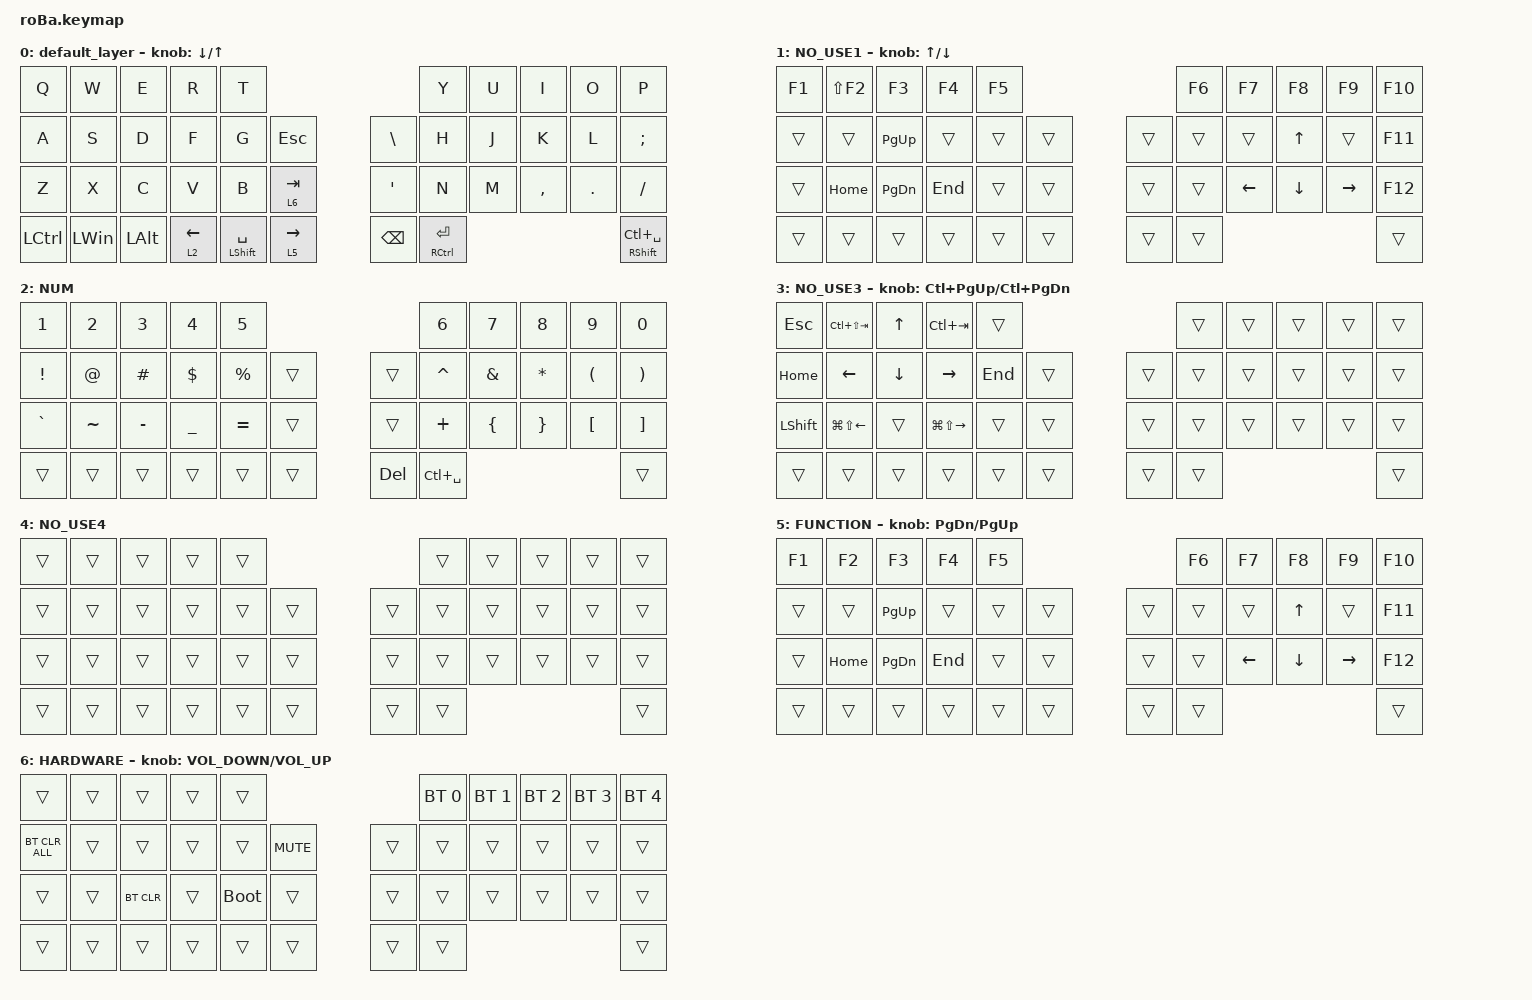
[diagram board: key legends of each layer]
#include <behaviors.dtsi>
#include <dt-bindings/zmk/bt.h>
#include <dt-bindings/zmk/keys.h>
#include <dt-bindings/zmk/pointing.h>

&mt {
    flavor = "balanced";
    quick-tap-ms = <0>;
};

&trackball {
    automouse-layer = <4>;
    scroll-layers = <5>;

    // arrows {
    //     layers = <3>;
    //     bindings =
    //         <&kp RIGHT_ARROW>,
    //         <&kp LEFT_ARROW>,
    //         <&kp UP_ARROW>,
    //         <&kp DOWN_ARROW>;
    //     tick = <10>;
    //     wait-ms = <5>;
    //     tap-ms = <5>;
    // };
};

/ {
    combos {
        compatible = "zmk,combos";

        lc {
            bindings = <&mkp LCLK>;
            key-positions = <18 19>;
        };

        rc {
            bindings = <&mkp RCLK>;
            key-positions = <19 20>;
        };

        back {
            bindings = <&mkp MB4>;
            key-positions = <30 31>;
        };

        fwd {
            bindings = <&mkp MB5>;
            key-positions = <31 32>;
        };

        mc {
            bindings = <&mkp MCLK>;
            key-positions = <18 20>;
        };

        tab {
            bindings = <&kp TAB>;
            key-positions = <13 12>;
        };

        lang {
            bindings = <&kp LC(SPACE)>;
            key-positions = <17 18>;
        };

        up {
            bindings = <&kp UP_ARROW>;
            key-positions = <2 3>;
        };

        right {
            bindings = <&kp RIGHT>;
            key-positions = <13 14>;
        };

        left {
            bindings = <&kp LEFT>;
            key-positions = <11 12>;
        };

        down {
            bindings = <&kp DOWN>;
            key-positions = <25 24>;
        };
    };

    macros {
        to_layer_0: to_layer_0 {
            compatible = "zmk,behavior-macro-one-param";
            #binding-cells = <1>;
            bindings = <&to 0 &macro_param_1to1 &kp MACRO_PLACEHOLDER>;
            label = "TO_LAYER_0";
        };
    };

    behaviors {
        lt_to_layer_0: lt_to_layer_0 {
            compatible = "zmk,behavior-hold-tap";
            label = "LAYER_TAP_TO_0";
            bindings = <&mo>, <&to_layer_0>;

            #binding-cells = <2>;
            tapping-term-ms = <200>;
        };
    };

    keymap {
        compatible = "zmk,keymap";

        default_layer {
            bindings = <
&kp Q      &kp W         &kp E         &kp R                  &kp T                                                       &kp Y            &kp U  &kp I      &kp O    &kp P
&kp A      &kp S         &kp D         &kp F                  &kp G            &kp ESC                     &kp BACKSLASH  &kp H            &kp J  &kp K      &kp L    &kp SEMICOLON
&kp Z      &kp X         &kp C         &kp V                  &kp B            &lt_to_layer_0 6 TAB        &kp SQT        &kp N            &kp M  &kp COMMA  &kp DOT  &kp SLASH
&kp LCTRL  &kp LEFT_WIN  &kp LEFT_ALT  &lt_to_layer_0 2 LEFT  &mt LSHFT SPACE  &lt_to_layer_0 5 RIGHT      &kp BACKSPACE  &mt RCTRL ENTER                             &mt RSHFT LC(SPACE)
            >;

            sensor-bindings = <&inc_dec_kp DOWN UP>;
        };

        NO_USE1 {
            bindings = <
&kp F1  &kp LS(F2)  &kp F3     &kp F4   &kp F5                      &kp F6  &kp F7    &kp F8    &kp F9     &kp F10
&trans  &trans      &kp PG_UP  &trans   &trans  &trans      &trans  &trans  &trans    &kp UP    &trans     &kp F11
&trans  &kp HOME    &kp PG_DN  &kp END  &trans  &trans      &trans  &trans  &kp LEFT  &kp DOWN  &kp RIGHT  &kp F12
&trans  &trans      &trans     &trans   &trans  &trans      &trans  &trans                                 &trans
            >;

            sensor-bindings = <&inc_dec_kp UP DOWN>;
        };

        NUM {
            bindings = <
&kp NUMBER_1     &kp NUMBER_2  &kp NUMBER_3  &kp NUMBER_4    &kp N5                            &kp NUMBER_6   &kp N7          &kp N8           &kp N9                &kp N0
&kp EXCLAMATION  &kp AT_SIGN   &kp HASH      &kp DOLLAR      &kp PERCENT  &trans      &trans   &kp CARET      &kp AMPERSAND   &kp ASTERISK     &kp LEFT_PARENTHESIS  &kp RIGHT_PARENTHESIS
&kp GRAVE        &kp TILDE     &kp MINUS     &kp UNDERSCORE  &kp EQUAL    &trans      &trans   &kp PLUS       &kp LEFT_BRACE  &kp RIGHT_BRACE  &kp LEFT_BRACKET      &kp RIGHT_BRACKET
&trans           &trans        &trans        &trans          &trans       &trans      &kp DEL  &kp LC(SPACE)                                                         &trans
            >;
        };

        NO_USE3 {
            bindings = <
&kp ESCAPE      &kp LC(LS(TAB))         &kp UP_ARROW    &kp LC(TAB)              &trans                       &trans  &trans  &trans  &trans  &trans
&kp HOME        &kp LEFT_ARROW          &kp DOWN_ARROW  &kp RIGHT_ARROW          &kp END  &trans      &trans  &trans  &trans  &trans  &trans  &trans
&kp LEFT_SHIFT  &kp LG(LS(LEFT_ARROW))  &trans          &kp LG(LS(RIGHT_ARROW))  &trans   &trans      &trans  &trans  &trans  &trans  &trans  &trans
&trans          &trans                  &trans          &trans                   &trans   &trans      &trans  &trans                          &trans
            >;

            sensor-bindings = <&inc_dec_kp LC(PAGE_UP) LC(PAGE_DOWN)>;
        };

        NO_USE4 {
            bindings = <
&trans  &trans  &trans  &trans  &trans                      &trans  &trans  &trans  &trans  &trans
&trans  &trans  &trans  &trans  &trans  &trans      &trans  &trans  &trans  &trans  &trans  &trans
&trans  &trans  &trans  &trans  &trans  &trans      &trans  &trans  &trans  &trans  &trans  &trans
&trans  &trans  &trans  &trans  &trans  &trans      &trans  &trans                          &trans
            >;
        };

        FUNCTION {
            bindings = <
&kp F1  &kp F2    &kp F3     &kp F4   &kp F5                      &kp F6  &kp F7    &kp F8    &kp F9     &kp F10
&trans  &trans    &kp PG_UP  &trans   &trans  &trans      &trans  &trans  &trans    &kp UP    &trans     &kp F11
&trans  &kp HOME  &kp PG_DN  &kp END  &trans  &trans      &trans  &trans  &kp LEFT  &kp DOWN  &kp RIGHT  &kp F12
&trans  &trans    &trans     &trans   &trans  &trans      &trans  &trans                                 &trans
            >;

            sensor-bindings = <&inc_dec_kp PG_DN PG_UP>;
        };

        HARDWARE {
            bindings = <
&trans          &trans  &trans      &trans  &trans                               &bt BT_SEL 0  &bt BT_SEL 1  &bt BT_SEL 2  &bt BT_SEL 3  &bt BT_SEL 4
&bt BT_CLR_ALL  &trans  &trans      &trans  &trans       &kp C_MUTE      &trans  &trans        &trans        &trans        &trans        &trans
&trans          &trans  &bt BT_CLR  &trans  &bootloader  &trans          &trans  &trans        &trans        &trans        &trans        &trans
&trans          &trans  &trans      &trans  &trans       &trans          &trans  &trans                                                  &trans
            >;

            sensor-bindings = <&inc_dec_kp C_VOLUME_DOWN C_VOLUME_UP>;
        };
    };
};
